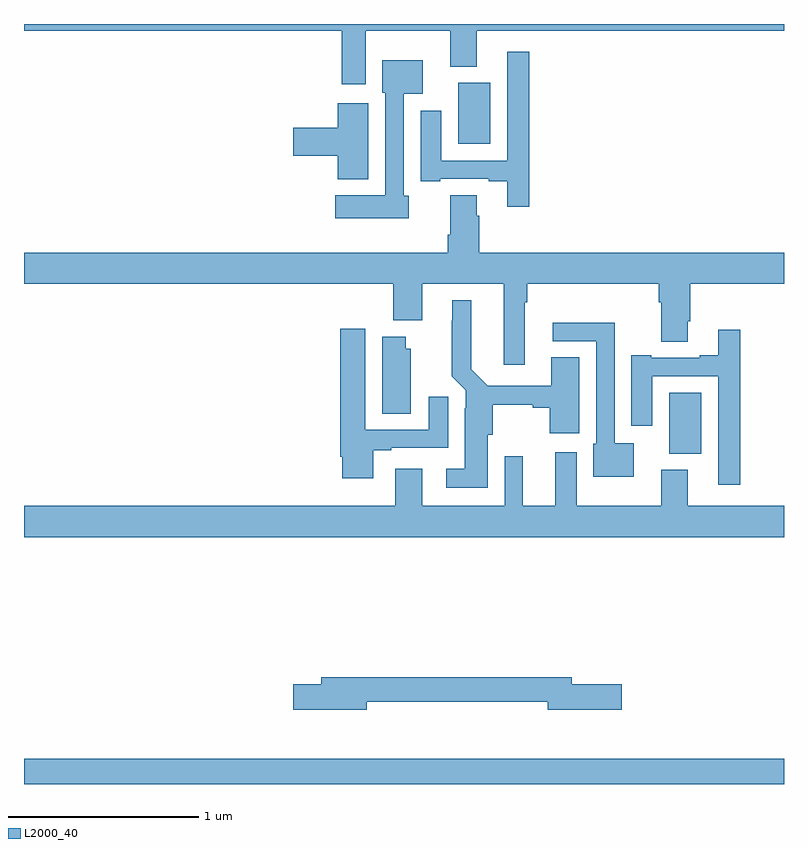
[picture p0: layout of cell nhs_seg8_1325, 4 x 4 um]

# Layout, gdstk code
import gdstk
lib = gdstk.Library(unit=1e-6, precision=1e-09)
def R(c, l, rs):  # rectangles x0, y0, x1, y1
    for r in rs: c.add(gdstk.rectangle(r[:2], r[2:], *l))
def P(c, l, *ps):  # polygons
    for p in ps: c.add(gdstk.Polygon(p, *l))
L2000_40 = (2000, 40)

nhs_seg8_1325 = lib.new_cell('nhs_seg8_1325')
R(nhs_seg8_1325, L2000_40, [(195,1081.9,199,1082.032), (198.395,1083.638,198.565,1083.958), (197.285,1085.27,197.455,1085.59)])
P(nhs_seg8_1325, L2000_40, [(196.798,1085.864),(197.243,1085.864),(197.243,1085.675),(197.383,1085.675),(197.383,1085.864),(199,1085.864),(199,1085.9),(195,1085.9),(195,1085.864),(196.673,1085.864),(196.673,1085.583),(196.798,1085.583)],
  [(197.66,1085.755),(197.544,1085.755),(197.544,1085.181),(197.197,1085.181),(197.197,1085.443),(197.087,1085.443),(197.087,1085.073),(197.191,1085.073),(197.191,1085.085),(197.447,1085.085),(197.447,1085.073),(197.543,1085.073),(197.543,1084.938),(197.66,1084.938)],
  [(197.026,1084.995),(196.998,1084.995),(196.998,1085.534),(197.098,1085.534),(197.098,1085.71),(196.886,1085.71),(196.886,1085.538),(196.902,1085.538),(196.902,1084.999),(196.638,1084.999),(196.638,1084.877),(197.026,1084.877)],
  [(196.813,1085.482),(196.652,1085.482),(196.652,1085.354),(196.416,1085.354),(196.416,1085.207),(196.652,1085.207),(196.652,1085.084),(196.813,1085.084)],
  [(195,1084.532),(196.943,1084.532),(196.943,1084.34),(197.095,1084.34),(197.095,1084.532),(197.525,1084.532),(197.525,1084.107),(197.635,1084.107),(197.635,1084.436),(197.648,1084.436),(197.648,1084.532),(198.341,1084.532),(198.341,1084.436),(198.353,1084.436),(198.353,1084.228),(198.493,1084.228),(198.493,1084.336),(198.506,1084.336),(198.506,1084.532),(199,1084.532),(199,1084.696),(197.396,1084.696),(197.396,1084.892),(197.383,1084.892),(197.383,1085),(197.243,1085),(197.243,1084.792),(197.231,1084.792),(197.231,1084.696),(195,1084.696)],
  [(197.44,1083.738),(197.466,1083.738),(197.466,1083.895),(197.678,1083.895),(197.678,1083.88),(197.767,1083.88),(197.767,1083.747),(197.923,1083.747),(197.923,1084.145),(197.774,1084.145),(197.774,1083.996),(197.44,1083.996),(197.353,1084.084),(197.353,1084.447),(197.255,1084.447),(197.255,1084.337),(197.251,1084.337),(197.251,1084.046),(197.325,1083.972),(197.325,1083.878),(197.321,1083.878),(197.321,1083.559),(197.223,1083.559),(197.223,1083.458),(197.44,1083.458)],
  [(198.208,1083.694),(198.108,1083.694),(198.108,1084.328),(197.784,1084.328),(197.784,1084.23),(198.012,1084.23),(198.012,1083.69),(197.996,1083.69),(197.996,1083.518),(198.208,1083.518)],
  [(196.837,1083.657),(196.933,1083.657),(196.933,1083.669),(197.233,1083.669),(197.233,1083.937),(197.129,1083.937),(197.129,1083.765),(196.795,1083.765),(196.795,1084.297),(196.664,1084.297),(196.664,1083.622),(196.676,1083.622),(196.676,1083.51),(196.837,1083.51)],
  [(198.77,1084.291),(198.653,1084.291),(198.653,1084.156),(198.557,1084.156),(198.557,1084.143),(198.301,1084.143),(198.301,1084.156),(198.197,1084.156),(198.197,1083.786),(198.307,1083.786),(198.307,1084.047),(198.654,1084.047),(198.654,1083.474),(198.77,1083.474)],
  [(197.035,1084.191),(197.008,1084.191),(197.008,1084.255),(196.886,1084.255),(196.886,1083.85),(197.035,1083.85)],
  [(199,1083.364),(198.493,1083.364),(198.493,1083.553),(198.353,1083.553),(198.353,1083.364),(197.908,1083.364),(197.908,1083.646),(197.795,1083.646),(197.795,1083.364),(197.626,1083.364),(197.626,1083.625),(197.529,1083.625),(197.529,1083.364),(197.095,1083.364),(197.095,1083.559),(196.955,1083.559),(196.955,1083.364),(195,1083.364),(195,1083.2),(199,1083.2)],
  [(196.804,1082.334),(197.756,1082.334),(197.756,1082.291),(198.145,1082.291),(198.145,1082.426),(197.884,1082.426),(197.884,1082.462),(196.565,1082.462),(196.565,1082.426),(196.416,1082.426),(196.416,1082.291),(196.804,1082.291)])

lib.write_gds('nhs_seg8_1325.gds')
